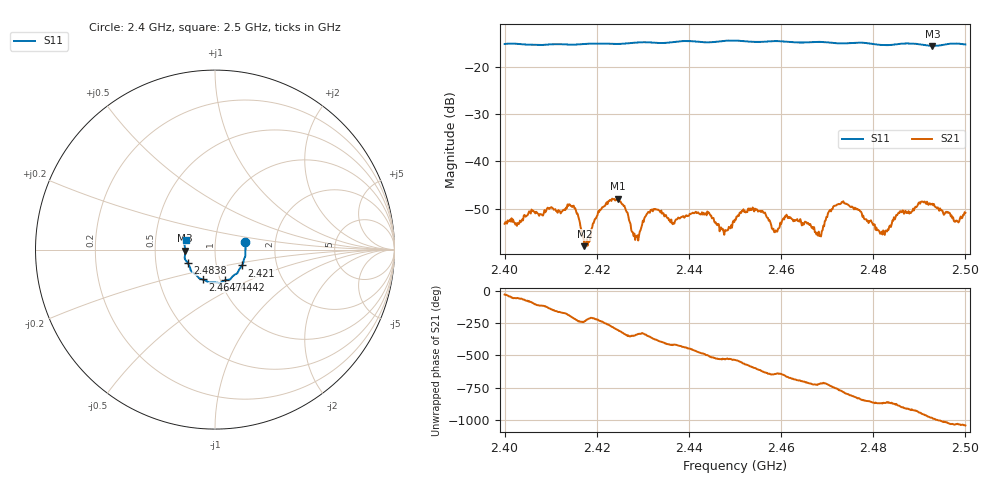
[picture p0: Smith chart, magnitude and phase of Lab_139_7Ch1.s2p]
# Hz S RI R 50
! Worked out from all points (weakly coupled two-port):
!   601 points, 2.4 GHz to 2.5 GHz, reference 50 ohm
!   highest |S21| = -47.87 dB at 2.4247 GHz (marker M1); lowest = -57.9 dB at 2.4173 GHz (marker M2)
!   lowest |S11| = -15.6 dB at 2.4928 GHz (marker M3), VSWR 1.40, Z = 35.8 - j0.389 ohm
!   |S11| at or under -10 dB: start of sweep to end of sweep
!   S12 and S22 are empty: the file has one direction only
!   S11 on the Smith chart (normalised r, x): 2.4 GHz: 1.40, +0.12; 2.421 GHz: 1.33, -0.24; 2.4442 GHz: 1.05, -0.37; 2.4647 GHz: 0.83, -0.29; 2.4838 GHz: 0.73, -0.11; 2.5 GHz: 0.72, +0.08
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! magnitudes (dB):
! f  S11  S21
! 2.4 GHz  -15.2  -53.2
! 2.4142 GHz  -15.4  -49.1
! 2.4167 GHz  -15.3  -54.5
! 2.4173 GHz  -15.2  -57.9
! 2.421 GHz  -15.1  -50.1
! 2.4247 GHz  -15.2  -47.9
! 2.4285 GHz  -14.9  -55.8
! 2.4333 GHz  -15.0  -50.2
! 2.4365 GHz  -14.8  -53.3
! 2.4442 GHz  -14.9  -50.9
! 2.4477 GHz  -14.6  -55.5
! 2.45 GHz  -14.5  -52.3
! 2.4533 GHz  -14.7  -50.0
! 2.4587 GHz  -14.6  -55.0
! 2.4647 GHz  -14.9  -53.0
! 2.4667 GHz  -14.8  -54.0
! 2.4685 GHz  -14.8  -55.7
! 2.4735 GHz  -15.1  -48.4
! 2.4833 GHz  -15.5  -54.4
! 2.4838 GHz  -15.4  -53.9
! 2.4928 GHz  -15.6  -49.0
! 2.5 GHz  -15.3  -50.9
